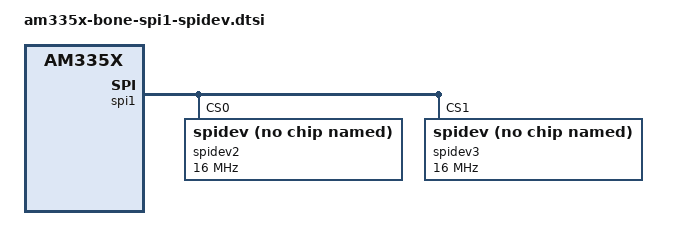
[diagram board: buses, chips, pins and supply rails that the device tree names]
/*
 * Copyright (C) 2012 Texas Instruments Incorporated - http://www.ti.com/
 *
 * This program is free software; you can redistribute it and/or modify
 * it under the terms of the GNU General Public License version 2 as
 * published by the Free Software Foundation.
 */

&ocp {
	P9_28_pinmux {
		status = "disabled";
	};
	P9_29_pinmux {
		status = "disabled";
	};
	P9_30_pinmux {
		status = "disabled";
	};
	P9_31_pinmux {
		status = "disabled";
	};
};

&spi1 {
	pinctrl-names = "default";
	pinctrl-0 = <&spi1_pins>;
	status = "okay";

	spidev2: spi@0 {
		compatible = "spidev";
		reg = <0>;
		spi-max-frequency = <16000000>;
		spi-cpha;
	};

	spidev3: spi@1 {
		compatible = "spidev";
		reg = <1>;
		spi-max-frequency = <16000000>;
	};
};
